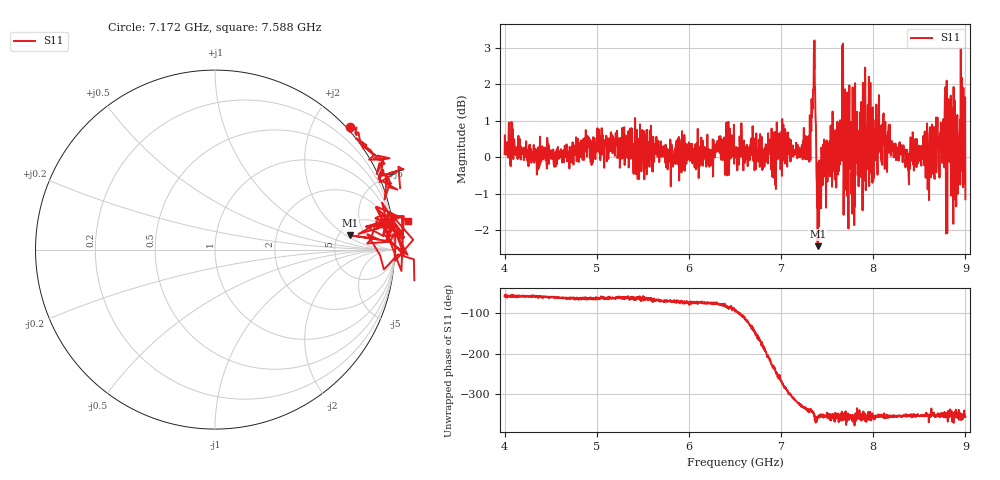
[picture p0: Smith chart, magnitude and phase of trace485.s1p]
! Created with skrf 1.8.0 (http://scikit-rf.org).
# Hz S RI R 50.0
!freq ReS11 ImS11
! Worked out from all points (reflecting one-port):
!   1601 points, 4 GHz to 9 GHz, reference 50 ohm
!   lowest |S11| = -2.4 dB at 7.397 GHz (marker M1), VSWR 7.17, Z = 314 + j117 ohm
!   phase of S11 starts at -60 deg and turns -294 deg over the sweep
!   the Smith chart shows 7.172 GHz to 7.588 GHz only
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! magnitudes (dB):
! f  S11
! 4 GHz  0.1
! 4.625 GHz  -0.1
! 5.25 GHz  -0.3
! 5.875 GHz  0.3
! 6.5 GHz  0.2
! 7.125 GHz  0.1
! 7.294 GHz  -0.1
! 7.353 GHz  1.9
! 7.369 GHz  1.9
! 7.397 GHz  -2.4
! 7.409 GHz  -0.9
! 7.453 GHz  -0.5
! 7.619 GHz  0.1
! 7.65 GHz  0.4
! 7.75 GHz  -0.2
! 7.962 GHz  1.9
! 7.997 GHz  0.4
! 8.088 GHz  0.3
! 8.375 GHz  -0.2
! 8.559 GHz  0.7
! 8.616 GHz  0.8
! 8.759 GHz  0.4
! 8.822 GHz  0.7
! 8.875 GHz  0.1
! 8.919 GHz  -0.5
! 8.959 GHz  2.2
! 8.972 GHz  0.9
! 9 GHz  -1.2
